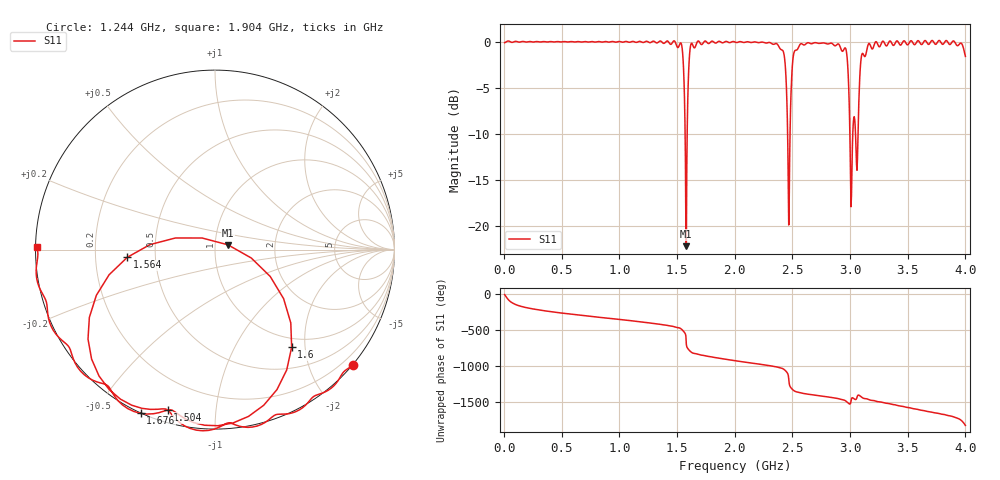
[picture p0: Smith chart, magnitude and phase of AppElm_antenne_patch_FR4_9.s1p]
! TOUCHSTONE file generated by CST MICROWAVE STUDIO
! Date and time: Tue Jun 14 14:31:19 2022
! Project name: AppElm_antenne_patch_FR4.cst
! Parameters = {L=45; W=58.5; e=0.035; h=1.6; lambda=0.190476; ls=138; w0=2.54; w1=0.847; ws=120; y0=18; y1=23.8}
! Header version: 2018
! Port assignment regex: !\s*Touchstone port\s*([0-9]+)\s*=\s*(CST MWS port|CST DS port)\s*([0-9]+|Zmin|Zmax)\s*\(\"(.*)\"\)(\s*mode\s*([0-9]+))?.*
! Touchstone port assignment:
! Touchstone port 1 = CST MWS port 1 ("")
# GHz S MA R 50
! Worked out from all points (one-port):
!   1000 points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, 4 MHz to 4 GHz, reference 50 ohm
!   lowest |S11| = -22.2 dB at 1.58 GHz (marker M1), VSWR 1.17, Z = 57.8 + j3.08 ohm
!   |S11| at or under -10 dB: 2.458 GHz to 2.479 GHz (21.26 MHz wide, 0.861 % of centre); 2.998 GHz to 3.023 GHz (25.51 MHz wide, 0.847 % of centre); 3.047 GHz to 3.069 GHz (21.89 MHz wide, 0.716 % of centre)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
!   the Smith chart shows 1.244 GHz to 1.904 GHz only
!   S11 on the Smith chart (normalised r, x): 1.244 GHz: -0.01, -2.77; 1.504 GHz: 0.06, -0.75; 1.564 GHz: 0.34, -0.04; 1.6 GHz: 0.84, -1.74; 1.676 GHz: -0.00, -0.64; 1.904 GHz: 0.00, +0.01
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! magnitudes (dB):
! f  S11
! 4 MHz  -0.1
! 504 MHz  0.0
! 1.004 GHz  0.0
! 1.244 GHz  0.0
! 1.504 GHz  -0.6
! 1.544 GHz  -0.7
! 1.564 GHz  -6.2
! 1.58 GHz  -22.2
! 1.6 GHz  -3.2
! 1.62 GHz  -0.3
! 1.676 GHz  0.0
! 1.904 GHz  -0.1
! 2.004 GHz  0.0
! 2.408 GHz  -0.9
! 2.432 GHz  -1.8
! 2.456 GHz  -8.5
! 2.468 GHz  -19.9
! 2.484 GHz  -7.2
! 2.504 GHz  -1.9
! 2.576 GHz  -0.2
! 2.952 GHz  -0.7
! 2.976 GHz  -2.0
! 3.004 GHz  -14.9
! 3.056 GHz  -13.4
! 3.1 GHz  -1.5
! 3.156 GHz  -0.3
! 3.504 GHz  -0.3
! 4 GHz  -1.6
